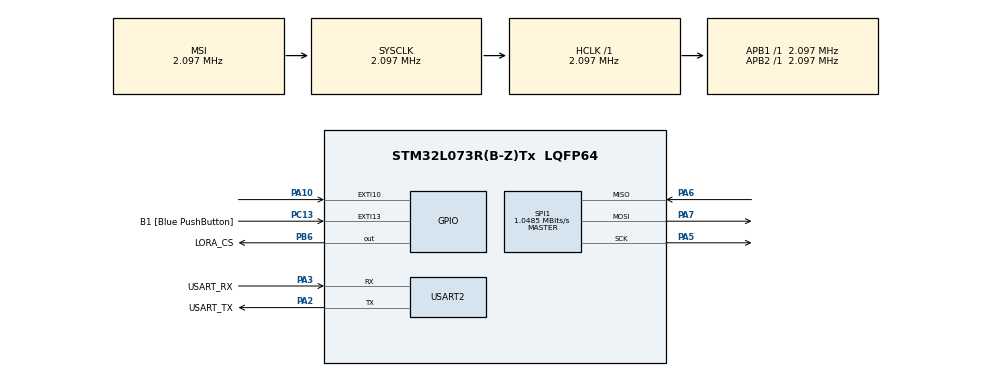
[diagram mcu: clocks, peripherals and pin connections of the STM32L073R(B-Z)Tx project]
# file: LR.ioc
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Mcu.Family=STM32L0
Mcu.Name=STM32L073R(B-Z)Tx
Mcu.Package=LQFP64
NVIC.EXTI4_15_IRQn=true\:0\:0\:false\:false\:true\:true\:true\:true
PA10.Signal=GPXTI10
PA13.GPIO_Label=TMS
PA13.Mode=Serial_Wire
PA13.Signal=SYS_SWDIO
PA14.GPIO_Label=TCK
PA14.Mode=Serial_Wire
PA14.Signal=SYS_SWCLK
PA2.GPIO_Label=USART_TX
PA2.Mode=Asynchronous
PA2.Signal=USART2_TX
PA3.GPIO_Label=USART_RX
PA3.Mode=Asynchronous
PA3.Signal=USART2_RX
PA5.Mode=Full_Duplex_Master
PA5.Signal=SPI1_SCK
PA6.Mode=Full_Duplex_Master
PA6.Signal=SPI1_MISO
PA7.Mode=Full_Duplex_Master
PA7.Signal=SPI1_MOSI
PB6.GPIO_Label=LORA_CS
PB6.PinState=GPIO_PIN_SET
PB6.Signal=GPIO_Output
PC13.GPIO_Label=B1 [Blue PushButton]
PC13.GPIO_ModeDefaultEXTI=GPIO_MODE_IT_FALLING
PC13.Signal=GPXTI13
PC14-OSC32_IN.Mode=LSE-External-Oscillator
PC14-OSC32_IN.Signal=RCC_OSC32_IN
PC15-OSC32_OUT.Mode=LSE-External-Oscillator
PC15-OSC32_OUT.Signal=RCC_OSC32_OUT
PH0-OSC_IN.GPIO_Label=MCO
PH0-OSC_IN.Mode=HSE-External-Clock-Source
PH0-OSC_IN.Signal=RCC_OSC_IN
ProjectManager.HeapSize=0x200
ProjectManager.StackSize=0x400
ProjectManager.TargetToolchain=STM32CubeIDE
RCC.AHBFreq_Value=2097000
RCC.APB1Freq_Value=2097000
RCC.APB1TimFreq_Value=2097000
RCC.APB2Freq_Value=2097000
RCC.APB2TimFreq_Value=2097000
RCC.HSE_VALUE=8000000
RCC.HSI16_VALUE=16000000
RCC.HSI48_VALUE=48000000
RCC.HSI_VALUE=16000000
RCC.MSI_VALUE=2097000
RCC.SYSCLKFreq_VALUE=2097000
RCC.VCOOutputFreq_Value=48000000
SPI1.CalculateBaudRate=1.0485 MBits/s
SPI1.Direction=SPI_DIRECTION_2LINES
SPI1.Mode=SPI_MODE_MASTER
SPI1.VirtualType=VM_MASTER
USART2.VirtualMode-Asynchronous=VM_ASYNC
board=NUCLEO-L073RZ

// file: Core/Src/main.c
/* USER CODE BEGIN Header */
/**
 ******************************************************************************
 * @file           : main.c
 * @brief          : Main program body
 ******************************************************************************
 * @attention
 *
 * Copyright (c) 2024 STMicroelectronics.
 * All rights reserved.
 *
 * This software is licensed under terms that can be found in the LICENSE file
 * in the root directory of this software component.
 * If no LICENSE file comes with this software, it is provided AS-IS.
 *
 ******************************************************************************
 */
/* USER CODE END Header */
#include "main.h"

/* USER CODE BEGIN PD */
#define SERVER 0
uint8_t data_rx[512] = { 0 };
uint8_t data_tx[512] = { 0 };
uint8_t last_data_received = 0;
uint16_t last_data_num;

/* USER CODE END PD */

SPI_HandleTypeDef hspi1;

UART_HandleTypeDef huart2;

void SystemClock_Config(void);
static void MX_GPIO_Init(void);
static void MX_USART2_UART_Init(void);
static void MX_SPI1_Init(void);

/* USER CODE BEGIN 0 */

void write_reg(uint8_t reg, uint8_t data) {

	__disable_irq();
	HAL_GPIO_WritePin(LORA_CS_GPIO_Port, LORA_CS_Pin, GPIO_PIN_RESET);
	reg = reg | 0x80;
	HAL_SPI_Transmit(&hspi1, &reg, 1, 1000);
	HAL_SPI_Transmit(&hspi1, &data, 1, 1000);
	HAL_GPIO_WritePin(LORA_CS_GPIO_Port, LORA_CS_Pin, GPIO_PIN_SET);
	__enable_irq();
}

uint8_t read_reg(uint8_t reg) {
	__disable_irq();
	uint8_t data = 0;
	HAL_GPIO_WritePin(LORA_CS_GPIO_Port, LORA_CS_Pin, GPIO_PIN_RESET);
	HAL_SPI_Transmit(&hspi1, &reg, 1, 1000);
	HAL_SPI_Receive(&hspi1, &data, 1, 1000);
	HAL_GPIO_WritePin(LORA_CS_GPIO_Port, LORA_CS_Pin, GPIO_PIN_SET);
	__enable_irq();
	return data;
}

void SetOpMode(uint8_t opMode) {
	write_reg( REG_OPMODE, (read_reg( REG_OPMODE) & RF_OPMODE_MASK) | opMode);
}

void SetRfTxPower(int8_t power, uint32_t freq) {
	uint8_t paConfig = 0;
	uint8_t paDac = 0;

	paConfig = read_reg( REG_PACONFIG);
	paDac = read_reg( REG_PADAC);

	paConfig =
			(paConfig & RF_PACONFIG_PASELECT_MASK) | RF_PACONFIG_PASELECT_RFO;

	if ((paConfig & RF_PACONFIG_PASELECT_PABOOST)
			== RF_PACONFIG_PASELECT_PABOOST) {
		if (power > 17) {
			paDac = (paDac & RF_PADAC_20DBM_MASK) | RF_PADAC_20DBM_ON;
		} else {
			paDac = (paDac & RF_PADAC_20DBM_MASK) | RF_PADAC_20DBM_OFF;
		}
		if ((paDac & RF_PADAC_20DBM_ON) == RF_PADAC_20DBM_ON) {
			if (power < 5) {
				power = 5;
			}
			if (power > 20) {
				power = 20;
			}
			paConfig = (paConfig & RFLR_PACONFIG_OUTPUTPOWER_MASK)
					| (uint8_t) ((uint16_t) (power - 5) & 0x0F);
		} else {
			if (power < 2) {
				power = 2;
			}
			if (power > 17) {
				power = 17;
			}
			paConfig = (paConfig & RFLR_PACONFIG_OUTPUTPOWER_MASK)
					| (uint8_t) ((uint16_t) (power - 2) & 0x0F);
		}
	} else {
		if (power < -1) {
			power = -1;
		}
		if (power > 14) {
			power = 14;
		}
		paConfig = (paConfig & RFLR_PACONFIG_OUTPUTPOWER_MASK)
				| (uint8_t) ((uint16_t) (power + 1) & 0x0F);
	}
	write_reg( REG_PACONFIG, paConfig);
	write_reg( REG_PADAC, paDac);
}

void set_for_rx(uint32_t bandwidth, uint32_t datarate, uint8_t coderate,
		uint32_t bandwidthAfc, uint16_t preambleLen, uint16_t symbTimeout,
		uint8_t fixLen, uint8_t payloadLen, uint8_t crcOn, uint8_t freqHopOn,
		uint8_t hopPeriod, uint8_t iqInverted, uint8_t rxContinuous) {

	SetOpMode( RF_OPMODE_SLEEP);
	write_reg( REG_OPMODE,
			(read_reg( REG_OPMODE) & RFLR_OPMODE_LONGRANGEMODE_MASK)
					| RFLR_OPMODE_LONGRANGEMODE_ON);

	write_reg( REG_DIOMAPPING1, 0x00);
	write_reg( REG_DIOMAPPING2, 0x00);
	write_reg(REG_LR_FIFORXBASEADDR, 0x00); //half of fifo for rx

	uint8_t LowDatarateOptimize = 0;
	if (datarate > 12) {
		datarate = 12;
	} else if (datarate < 6) {
		datarate = 6;
	}

	if (((bandwidth == 0) && ((datarate == 11) || (datarate == 12)))
			|| ((bandwidth == 1) && (datarate == 12))) {
		LowDatarateOptimize = 0x01;
	} else {
		LowDatarateOptimize = 0x00;
	}

	write_reg( REG_LR_MODEMCONFIG1,
			(read_reg( REG_LR_MODEMCONFIG1) &
			RFLR_MODEMCONFIG1_BW_MASK &
			RFLR_MODEMCONFIG1_CODINGRATE_MASK &
			RFLR_MODEMCONFIG1_IMPLICITHEADER_MASK &
			RFLR_MODEMCONFIG1_RXPAYLOADCRC_MASK &
			RFLR_MODEMCONFIG1_LOWDATARATEOPTIMIZE_MASK) | (bandwidth << 6)
					| (coderate << 3) | (fixLen << 2) | (crcOn << 1)
					| LowDatarateOptimize);

	write_reg( REG_LR_MODEMCONFIG2,
			(read_reg( REG_LR_MODEMCONFIG2) &
			RFLR_MODEMCONFIG2_SF_MASK &
			RFLR_MODEMCONFIG2_SYMBTIMEOUTMSB_MASK) | (datarate << 4)
					| ((symbTimeout >> 8)
							& ~RFLR_MODEMCONFIG2_SYMBTIMEOUTMSB_MASK));

	write_reg( REG_LR_SYMBTIMEOUTLSB, (uint8_t) (symbTimeout & 0xFF));

	write_reg( REG_LR_PREAMBLEMSB, (uint8_t) ((preambleLen >> 8) & 0xFF));
	write_reg( REG_LR_PREAMBLELSB, (uint8_t) (preambleLen & 0xFF));

	if (fixLen == 1) {
		write_reg( REG_LR_PAYLOADLENGTH, payloadLen);
	}

	if (freqHopOn) {
		write_reg( REG_LR_PLLHOP,
				(read_reg( REG_LR_PLLHOP) & RFLR_PLLHOP_FASTHOP_MASK)
						| RFLR_PLLHOP_FASTHOP_ON);
		write_reg( REG_LR_HOPPERIOD, hopPeriod);
	}

	if (datarate == 6) {
		write_reg( REG_LR_DETECTOPTIMIZE, (read_reg( REG_LR_DETECTOPTIMIZE) &
		RFLR_DETECTIONOPTIMIZE_MASK) |
		RFLR_DETECTIONOPTIMIZE_SF6);
		write_reg( REG_LR_DETECTIONTHRESHOLD,
		RFLR_DETECTIONTHRESH_SF6);
	} else {
		write_reg( REG_LR_DETECTOPTIMIZE, (read_reg( REG_LR_DETECTOPTIMIZE) &
		RFLR_DETECTIONOPTIMIZE_MASK) |
		RFLR_DETECTIONOPTIMIZE_SF7_TO_SF12);
		write_reg( REG_LR_DETECTIONTHRESHOLD,
		RFLR_DETECTIONTHRESH_SF7_TO_SF12);
	}
}

void set_for_tx(int8_t power, uint32_t fdev, uint32_t bandwidth,
		uint32_t datarate, uint8_t coderate, uint16_t preambleLen,
		uint8_t fixLen, uint8_t crcOn, uint8_t freqHopOn, uint8_t hopPeriod,
		uint8_t iqInverted, uint32_t timeout) {
	SetOpMode( RF_OPMODE_SLEEP);
	write_reg( REG_OPMODE,
			(read_reg( REG_OPMODE) & RFLR_OPMODE_LONGRANGEMODE_MASK)
					| RFLR_OPMODE_LONGRANGEMODE_ON);

	write_reg( REG_DIOMAPPING1, 0x00);
	write_reg( REG_DIOMAPPING2, 0x00);
	write_reg(REG_LR_FIFOTXBASEADDR, 0x80); //half of fifo for tx

	uint8_t LowDatarateOptimize = 0;
	if (datarate > 12) {
		datarate = 12;
	} else if (datarate < 6) {
		datarate = 6;
	}
	if (((bandwidth == 0) && ((datarate == 11) || (datarate == 12)))
			|| ((bandwidth == 1) && (datarate == 12))) {
		LowDatarateOptimize = 0x01;
	} else {
		LowDatarateOptimize = 0x00;
	}

	if (freqHopOn) {
		write_reg( REG_LR_PLLHOP,
				(read_reg( REG_LR_PLLHOP) & RFLR_PLLHOP_FASTHOP_MASK)
						| RFLR_PLLHOP_FASTHOP_ON);
		write_reg( REG_LR_HOPPERIOD, hopPeriod);
	}

	write_reg( REG_LR_MODEMCONFIG1,
			(read_reg( REG_LR_MODEMCONFIG1) &
			RFLR_MODEMCONFIG1_BW_MASK &
			RFLR_MODEMCONFIG1_CODINGRATE_MASK &
			RFLR_MODEMCONFIG1_IMPLICITHEADER_MASK &
			RFLR_MODEMCONFIG1_RXPAYLOADCRC_MASK &
			RFLR_MODEMCONFIG1_LOWDATARATEOPTIMIZE_MASK) | (bandwidth << 6)
					| (coderate << 3) | (fixLen << 2) | (crcOn << 1)
					| LowDatarateOptimize);

	write_reg( REG_LR_MODEMCONFIG2, (read_reg( REG_LR_MODEMCONFIG2) &
	RFLR_MODEMCONFIG2_SF_MASK) | (datarate << 4));

	write_reg( REG_LR_PREAMBLEMSB, (preambleLen >> 8) & 0x00FF);
	write_reg( REG_LR_PREAMBLELSB, preambleLen & 0xFF);

	if (datarate == 6) {
		write_reg( REG_LR_DETECTOPTIMIZE, (read_reg( REG_LR_DETECTOPTIMIZE) &
		RFLR_DETECTIONOPTIMIZE_MASK) |
		RFLR_DETECTIONOPTIMIZE_SF6);
		write_reg( REG_LR_DETECTIONTHRESHOLD,
		RFLR_DETECTIONTHRESH_SF6);
	} else {
		write_reg( REG_LR_DETECTOPTIMIZE, (read_reg( REG_LR_DETECTOPTIMIZE) &
		RFLR_DETECTIONOPTIMIZE_MASK) |
		RFLR_DETECTIONOPTIMIZE_SF7_TO_SF12);
		write_reg( REG_LR_DETECTIONTHRESHOLD,
		RFLR_DETECTIONTHRESH_SF7_TO_SF12);
	}

}

void set_channel(uint32_t freq) {
	freq = (uint32_t) ((double) freq / (double) FREQ_STEP);
	write_reg( REG_FRFMSB, (uint8_t) ((freq >> 16) & 0xFF));
	write_reg( REG_FRFMID, (uint8_t) ((freq >> 8) & 0xFF));
	write_reg( REG_FRFLSB, (uint8_t) (freq & 0xFF));
}

void Write(uint8_t addr, uint8_t *buffer, uint8_t size) {
	addr = addr | 0x80;
	__disable_irq();
	HAL_GPIO_WritePin(LORA_CS_GPIO_Port, LORA_CS_Pin, GPIO_PIN_RESET);
	HAL_SPI_Transmit(&hspi1, &addr, 1, 1000);
	HAL_SPI_Transmit(&hspi1, buffer, size, 1000);
	HAL_GPIO_WritePin(LORA_CS_GPIO_Port, LORA_CS_Pin, GPIO_PIN_SET);
	__enable_irq();

}

void WriteFifo(uint8_t *buffer, uint8_t size) {
	Write(0, buffer, size);
}

void lora_tx(uint8_t freqHopOn) {

	if (freqHopOn) {
		write_reg( REG_LR_IRQFLAGSMASK, RFLR_IRQFLAGS_RXTIMEOUT |
		RFLR_IRQFLAGS_RXDONE |
		RFLR_IRQFLAGS_PAYLOADCRCERROR |
		RFLR_IRQFLAGS_VALIDHEADER |
		//RFLR_IRQFLAGS_TXDONE |
				RFLR_IRQFLAGS_CADDONE |
				//RFLR_IRQFLAGS_FHSSCHANGEDCHANNEL |
				RFLR_IRQFLAGS_CADDETECTED);

		// DIO0=TxDone, DIO2=FhssChangeChannel
		write_reg( REG_DIOMAPPING1,
				(read_reg( REG_DIOMAPPING1) & RFLR_DIOMAPPING1_DIO0_MASK
						& RFLR_DIOMAPPING1_DIO2_MASK) | RFLR_DIOMAPPING1_DIO0_01
						| RFLR_DIOMAPPING1_DIO2_00);
	} else {
		write_reg( REG_LR_IRQFLAGSMASK, RFLR_IRQFLAGS_RXTIMEOUT |
		RFLR_IRQFLAGS_RXDONE |
		RFLR_IRQFLAGS_PAYLOADCRCERROR |
		RFLR_IRQFLAGS_VALIDHEADER |
		//RFLR_IRQFLAGS_TXDONE |
				RFLR_IRQFLAGS_CADDONE |
				RFLR_IRQFLAGS_FHSSCHANGEDCHANNEL |
				RFLR_IRQFLAGS_CADDETECTED);

		// DIO0=TxDone
		write_reg( REG_DIOMAPPING1,
				(read_reg( REG_DIOMAPPING1) & RFLR_DIOMAPPING1_DIO0_MASK)
						| RFLR_DIOMAPPING1_DIO0_01);
	}

	SetOpMode( RF_OPMODE_TRANSMITTER);
}

void lora_send(uint8_t *buffer, uint8_t size, uint8_t freqHopOn,
		uint8_t IqInverted) {
	if (IqInverted) {
		write_reg( REG_LR_INVERTIQ,
				((read_reg( REG_LR_INVERTIQ) & RFLR_INVERTIQ_TX_MASK
						& RFLR_INVERTIQ_RX_MASK) | RFLR_INVERTIQ_RX_OFF
						| RFLR_INVERTIQ_TX_ON));
		write_reg( REG_LR_INVERTIQ2, RFLR_INVERTIQ2_ON);
	} else {
		write_reg( REG_LR_INVERTIQ,
				((read_reg( REG_LR_INVERTIQ) & RFLR_INVERTIQ_TX_MASK
						& RFLR_INVERTIQ_RX_MASK) | RFLR_INVERTIQ_RX_OFF
						| RFLR_INVERTIQ_TX_OFF));
		write_reg( REG_LR_INVERTIQ2, RFLR_INVERTIQ2_OFF);
	}

	// Initializes the payload size
	write_reg( REG_LR_PAYLOADLENGTH, size);

	// Full buffer used for Tx
	write_reg( REG_LR_FIFOTXBASEADDR, 0);
	write_reg( REG_LR_FIFOADDRPTR, 0);

	// FIFO operations can not take place in Sleep mode
	if ((read_reg( REG_OPMODE) & ~RF_OPMODE_MASK) == RF_OPMODE_SLEEP) {
		SetOpMode(RF_OPMODE_STANDBY);
		HAL_Delay(5);
	}
	// Write payload buffer
	WriteFifo(buffer, size);

	lora_tx(freqHopOn);
}

void lora_rx(uint32_t timeout, uint8_t IqInverted, uint8_t RxContinuous,
		uint8_t freqHopOn) {
	if (IqInverted) {
		write_reg( REG_LR_INVERTIQ,
				((read_reg( REG_LR_INVERTIQ) & RFLR_INVERTIQ_TX_MASK
						& RFLR_INVERTIQ_RX_MASK) | RFLR_INVERTIQ_RX_ON
						| RFLR_INVERTIQ_TX_OFF));
		write_reg( REG_LR_INVERTIQ2, RFLR_INVERTIQ2_ON);
	} else {
		write_reg( REG_LR_INVERTIQ,
				((read_reg( REG_LR_INVERTIQ) & RFLR_INVERTIQ_TX_MASK
						& RFLR_INVERTIQ_RX_MASK) | RFLR_INVERTIQ_RX_OFF
						| RFLR_INVERTIQ_TX_OFF));
		write_reg( REG_LR_INVERTIQ2, RFLR_INVERTIQ2_OFF);
	}

	if (freqHopOn) {
		write_reg( REG_LR_IRQFLAGSMASK, //RFLR_IRQFLAGS_RXTIMEOUT |
				//RFLR_IRQFLAGS_RXDONE |
				//RFLR_IRQFLAGS_PAYLOADCRCERROR |
				RFLR_IRQFLAGS_VALIDHEADER |
				RFLR_IRQFLAGS_TXDONE |
				RFLR_IRQFLAGS_CADDONE |
				//RFLR_IRQFLAGS_FHSSCHANGEDCHANNEL |
						RFLR_IRQFLAGS_CADDETECTED);

		// DIO0=RxDone, DIO2=FhssChangeChannel
		write_reg( REG_DIOMAPPING1,
				(read_reg( REG_DIOMAPPING1) & RFLR_DIOMAPPING1_DIO0_MASK
						& RFLR_DIOMAPPING1_DIO2_MASK) | RFLR_DIOMAPPING1_DIO0_00
						| RFLR_DIOMAPPING1_DIO2_00);
	} else {
		write_reg( REG_LR_IRQFLAGSMASK, //RFLR_IRQFLAGS_RXTIMEOUT |
				//RFLR_IRQFLAGS_RXDONE |
				//RFLR_IRQFLAGS_PAYLOADCRCERROR |
				RFLR_IRQFLAGS_VALIDHEADER |
				RFLR_IRQFLAGS_TXDONE |
				RFLR_IRQFLAGS_CADDONE |
				RFLR_IRQFLAGS_FHSSCHANGEDCHANNEL |
				RFLR_IRQFLAGS_CADDETECTED);

		// DIO0=RxDone
		write_reg( REG_DIOMAPPING1,
				(read_reg( REG_DIOMAPPING1) & RFLR_DIOMAPPING1_DIO0_MASK)
						| RFLR_DIOMAPPING1_DIO0_00);
	}
	write_reg( REG_LR_FIFORXBASEADDR, 0);
	write_reg( REG_LR_FIFOADDRPTR, 0);

	if (RxContinuous) {
		for (int i = 0; i < 0x3e; ++i) {
			asm("NOP");
			uint8_t val = read_reg(i);
			asm("NOP");
			asm("NOP");
		}

		SetOpMode( RFLR_OPMODE_RECEIVER);
	} else {
		SetOpMode( RFLR_OPMODE_RECEIVER_SINGLE);
	}
}

void read_rx_data() {
	//check error flags
	HAL_GPIO_WritePin(LORA_CS_GPIO_Port, LORA_CS_Pin, GPIO_PIN_SET);
	uint8_t flags = read_reg(REG_LR_IRQFLAGS);
	uint8_t status = read_reg(1);
	if ((flags & 0x40)) {				//rx_done

		uint8_t nbytes = read_reg(REG_LR_RXNBBYTES);
		if (nbytes > 0) {
			write_reg(REG_LR_FIFOADDRPTR, read_reg(REG_LR_FIFORXCURRENTADDR));

			uint8_t address = REG_LR_FIFO;
			HAL_GPIO_WritePin(LORA_CS_GPIO_Port, LORA_CS_Pin, GPIO_PIN_RESET);
			HAL_SPI_Transmit(&hspi1, &address, 1, 1000);
			HAL_SPI_Receive(&hspi1, data_rx, nbytes, 1000);
			last_data_received = 1;
		}
		//write_reg(REG_LR_IRQFLAGS, 0x40);//reset rx_done interrupt
	}
	write_reg(REG_LR_IRQFLAGS, 0xff); //clear interrupts

}

/* USER CODE END 0 */

int main(void) {

	/* MCU Configuration--------------------------------------------------------*/

	/* Reset of all peripherals, Initializes the Flash interface and the Systick. */
	HAL_Init();

	/* Configure the system clock */
	SystemClock_Config();

	/* Initialize all configured peripherals */
	MX_GPIO_Init();
	MX_USART2_UART_Init();
	MX_SPI1_Init();
	/* USER CODE BEGIN 2 */

	set_channel(RF_FREQUENCY);

	set_for_rx(LORA_BANDWIDTH, LORA_SPREADING_FACTOR,
	LORA_CODINGRATE, 0, LORA_PREAMBLE_LENGTH,
	LORA_SYMBOL_TIMEOUT, LORA_FIX_LENGTH_PAYLOAD_ON, 0,
	LORA_CRC_ENABLED, LORA_FHSS_ENABLED, LORA_NB_SYMB_HOP,
	LORA_IQ_INVERSION_ON, 1);
	set_for_tx(TX_OUTPUT_POWER, 0, LORA_BANDWIDTH,
	LORA_SPREADING_FACTOR, LORA_CODINGRATE,
	LORA_PREAMBLE_LENGTH, LORA_FIX_LENGTH_PAYLOAD_ON,
	LORA_CRC_ENABLED, LORA_FHSS_ENABLED, LORA_NB_SYMB_HOP,
	LORA_IQ_INVERSION_ON, 2000);

	/* USER CODE END 2 */

	/* Infinite loop */
	/* USER CODE BEGIN WHILE */

	uint8_t receive_buffer[32] = { 0 };
	uint8_t receive_buffer_ptr = 0;
	uint8_t last_receive_ptr = 0;
	while (1) {

		uint8_t buffer[70] =
				"Tw=21.9;Ta=22.6;Ma=37.7;Lo=2547;GN=50.088032;GE=14.452941;GT=102908\n\r";
		HAL_UART_Transmit(&huart2, buffer, 70, 1000);
		HAL_Delay(10000);
		//quickly send data

		if (last_data_received) {
			uint8_t numdata_to_send = snprintf(data_tx, 15, "LAST : %s\n\r",
					data_rx);
			lora_send(data_tx, numdata_to_send, LORA_FHSS_ENABLED,
			LORA_IQ_INVERSION_ON);
			last_data_received = 0;
		} else {
			lora_send(buffer, 70, LORA_FHSS_ENABLED, LORA_IQ_INVERSION_ON);
		}

		uint8_t status_val = read_reg(1);
		while ((status_val & 0xf) == 0x3) { //while transmission in progess
			status_val = read_reg(1);
		}
		//CLEAR TX COMPLETE INTERRUPT
		write_reg(REG_LR_IRQFLAGS, 0x8);
		lora_rx(1000, LORA_IQ_INVERSION_ON, 1, LORA_FHSS_ENABLED);

		HAL_Delay(4000);
		SetOpMode(RF_OPMODE_STANDBY);

		status_val = read_reg(1);
		asm("NOP");

		/* USER CODE END WHILE */

	}
}

void SystemClock_Config(void) {
	RCC_OscInitTypeDef RCC_OscInitStruct = { 0 };
	RCC_ClkInitTypeDef RCC_ClkInitStruct = { 0 };
	RCC_PeriphCLKInitTypeDef PeriphClkInit = { 0 };

	/** Configure the main internal regulator output voltage
	 */
	__HAL_PWR_VOLTAGESCALING_CONFIG(PWR_REGULATOR_VOLTAGE_SCALE1);

	/** Initializes the RCC Oscillators according to the specified parameters
	 * in the RCC_OscInitTypeDef structure.
	 */
	RCC_OscInitStruct.OscillatorType = RCC_OSCILLATORTYPE_MSI;
	RCC_OscInitStruct.MSIState = RCC_MSI_ON;
	RCC_OscInitStruct.MSICalibrationValue = 0;
	RCC_OscInitStruct.MSIClockRange = RCC_MSIRANGE_5;
	RCC_OscInitStruct.PLL.PLLState = RCC_PLL_NONE;
	if (HAL_RCC_OscConfig(&RCC_OscInitStruct) != HAL_OK) {
		Error_Handler();
	}

	/** Initializes the CPU, AHB and APB buses clocks
	 */
	RCC_ClkInitStruct.ClockType = RCC_CLOCKTYPE_HCLK | RCC_CLOCKTYPE_SYSCLK
			| RCC_CLOCKTYPE_PCLK1 | RCC_CLOCKTYPE_PCLK2;
	RCC_ClkInitStruct.SYSCLKSource = RCC_SYSCLKSOURCE_MSI;
	RCC_ClkInitStruct.AHBCLKDivider = RCC_SYSCLK_DIV1;
	RCC_ClkInitStruct.APB1CLKDivider = RCC_HCLK_DIV1;
	RCC_ClkInitStruct.APB2CLKDivider = RCC_HCLK_DIV1;

	if (HAL_RCC_ClockConfig(&RCC_ClkInitStruct, FLASH_LATENCY_0) != HAL_OK) {
		Error_Handler();
	}
	PeriphClkInit.PeriphClockSelection = RCC_PERIPHCLK_USART2;
	PeriphClkInit.Usart2ClockSelection = RCC_USART2CLKSOURCE_PCLK1;
	if (HAL_RCCEx_PeriphCLKConfig(&PeriphClkInit) != HAL_OK) {
		Error_Handler();
	}
}

static void MX_SPI1_Init(void) {

	/* SPI1 parameter configuration*/
	hspi1.Instance = SPI1;
	hspi1.Init.Mode = SPI_MODE_MASTER;
	hspi1.Init.Direction = SPI_DIRECTION_2LINES;
	hspi1.Init.DataSize = SPI_DATASIZE_8BIT;
	hspi1.Init.CLKPolarity = SPI_POLARITY_LOW;
	hspi1.Init.CLKPhase = SPI_PHASE_1EDGE;
	hspi1.Init.NSS = SPI_NSS_SOFT;
	hspi1.Init.BaudRatePrescaler = SPI_BAUDRATEPRESCALER_2;
	hspi1.Init.FirstBit = SPI_FIRSTBIT_MSB;
	hspi1.Init.TIMode = SPI_TIMODE_DISABLE;
	hspi1.Init.CRCCalculation = SPI_CRCCALCULATION_DISABLE;
	hspi1.Init.CRCPolynomial = 7;
	if (HAL_SPI_Init(&hspi1) != HAL_OK) {
		Error_Handler();
	}

}

static void MX_USART2_UART_Init(void) {

	huart2.Instance = USART2;
	huart2.Init.BaudRate = 115200;
	huart2.Init.WordLength = UART_WORDLENGTH_8B;
	huart2.Init.StopBits = UART_STOPBITS_1;
	huart2.Init.Parity = UART_PARITY_NONE;
	huart2.Init.Mode = UART_MODE_TX_RX;
	huart2.Init.HwFlowCtl = UART_HWCONTROL_NONE;
	huart2.Init.OverSampling = UART_OVERSAMPLING_16;
	huart2.Init.OneBitSampling = UART_ONE_BIT_SAMPLE_DISABLE;
	huart2.AdvancedInit.AdvFeatureInit = UART_ADVFEATURE_NO_INIT;
	if (HAL_UART_Init(&huart2) != HAL_OK) {
		Error_Handler();
	}

}

static void MX_GPIO_Init(void) {
	GPIO_InitTypeDef GPIO_InitStruct = { 0 };

	/* GPIO Ports Clock Enable */
	__HAL_RCC_GPIOC_CLK_ENABLE();
	__HAL_RCC_GPIOH_CLK_ENABLE();
	__HAL_RCC_GPIOA_CLK_ENABLE();
	__HAL_RCC_GPIOB_CLK_ENABLE();

	/*Configure GPIO pin Output Level */
	HAL_GPIO_WritePin(LORA_CS_GPIO_Port, LORA_CS_Pin, GPIO_PIN_SET);

	/*Configure GPIO pin : B1_Pin */
	GPIO_InitStruct.Pin = B1_Pin;
	GPIO_InitStruct.Mode = GPIO_MODE_IT_FALLING;
	GPIO_InitStruct.Pull = GPIO_NOPULL;
	HAL_GPIO_Init(B1_GPIO_Port, &GPIO_InitStruct);

	/*Configure GPIO pin : PA10 */
	GPIO_InitStruct.Pin = GPIO_PIN_10;
	GPIO_InitStruct.Mode = GPIO_MODE_IT_RISING;
	GPIO_InitStruct.Pull = GPIO_NOPULL;
	HAL_GPIO_Init(GPIOA, &GPIO_InitStruct);

	/*Configure GPIO pin : LORA_CS_Pin */
	GPIO_InitStruct.Pin = LORA_CS_Pin;
	GPIO_InitStruct.Mode = GPIO_MODE_OUTPUT_PP;
	GPIO_InitStruct.Pull = GPIO_NOPULL;
	GPIO_InitStruct.Speed = GPIO_SPEED_FREQ_LOW;
	HAL_GPIO_Init(LORA_CS_GPIO_Port, &GPIO_InitStruct);

	/* EXTI interrupt init*/
	HAL_NVIC_SetPriority(EXTI4_15_IRQn, 0, 0);
	HAL_NVIC_EnableIRQ(EXTI4_15_IRQn);

}

void Error_Handler(void) {
	__disable_irq();
	while (1) {
	}
}
